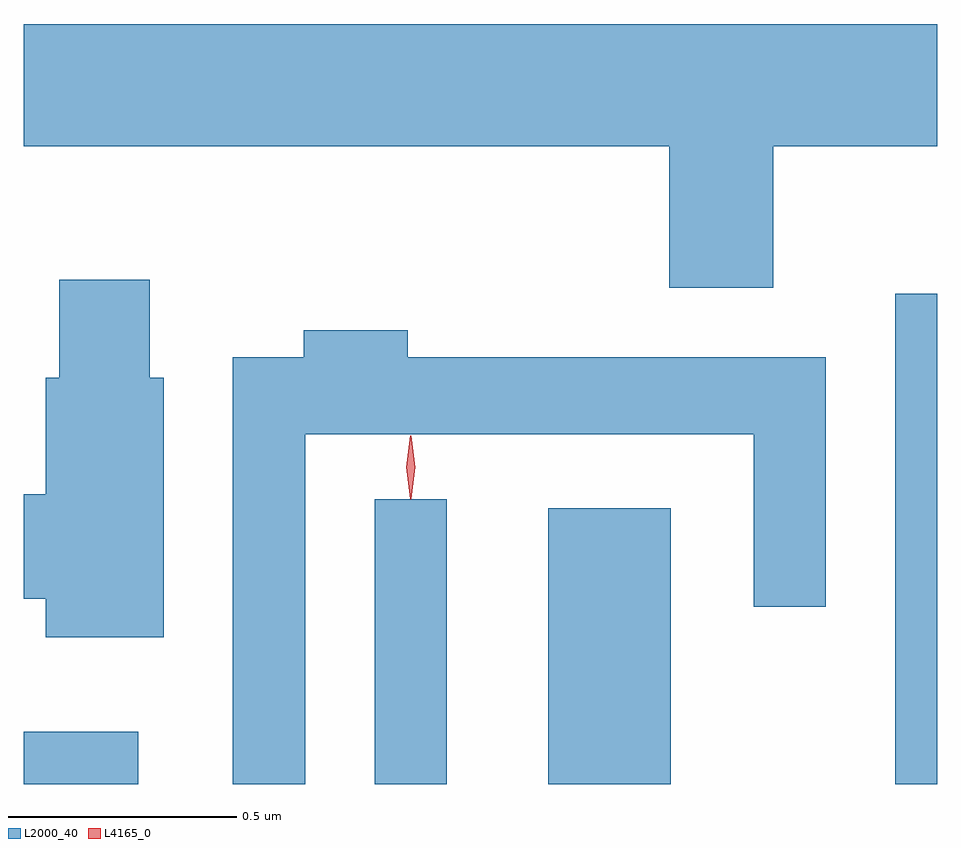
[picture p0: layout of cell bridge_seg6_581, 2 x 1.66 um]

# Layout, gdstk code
import gdstk
lib = gdstk.Library(unit=1e-6, precision=1e-09)
def R(c, l, rs):  # rectangles x0, y0, x1, y1
    for r in rs: c.add(gdstk.rectangle(r[:2], r[2:], *l))
def P(c, l, *ps):  # polygons
    for p in ps: c.add(gdstk.Polygon(p, *l))
L2000_40 = (2000, 40)
L4165_0 = (4165, 0)

bridge_seg6_581 = lib.new_cell('bridge_seg6_581')
R(bridge_seg6_581, L2000_40, [(444.988,1661.86,445.239,1661.974), (445.756,1661.86,445.914,1662.483), (446.136,1661.86,446.404,1662.464), (446.896,1661.86,446.988,1662.933)])
P(bridge_seg6_581, L2000_40, [(446.629,1663.256),(446.988,1663.256),(446.988,1663.524),(444.988,1663.524),(444.988,1663.256),(446.401,1663.256),(446.401,1662.946),(446.629,1662.946)],
  [(445.294,1662.749),(445.264,1662.749),(445.264,1662.964),(445.066,1662.964),(445.066,1662.749),(445.036,1662.749),(445.036,1662.494),(444.988,1662.494),(444.988,1662.266),(445.036,1662.266),(445.036,1662.181),(445.294,1662.181)],
  [(445.604,1662.626),(446.586,1662.626),(446.586,1662.248),(446.744,1662.248),(446.744,1662.794),(445.829,1662.794),(445.829,1662.854),(445.601,1662.854),(445.601,1662.794),(445.446,1662.794),(445.446,1661.86),(445.604,1661.86)])
P(bridge_seg6_581, L4165_0, [(445.834,1662.484),(445.825,1662.553),(445.834,1662.622),(445.835,1662.623),(445.836,1662.622),(445.845,1662.553),(445.836,1662.484),(445.835,1662.484)],
  [(445.834,1662.487),(445.825,1662.554),(445.834,1662.62),(445.835,1662.621),(445.835,1662.62),(445.845,1662.554),(445.835,1662.487),(445.835,1662.487)])

lib.write_gds('bridge_seg6_581.gds')
